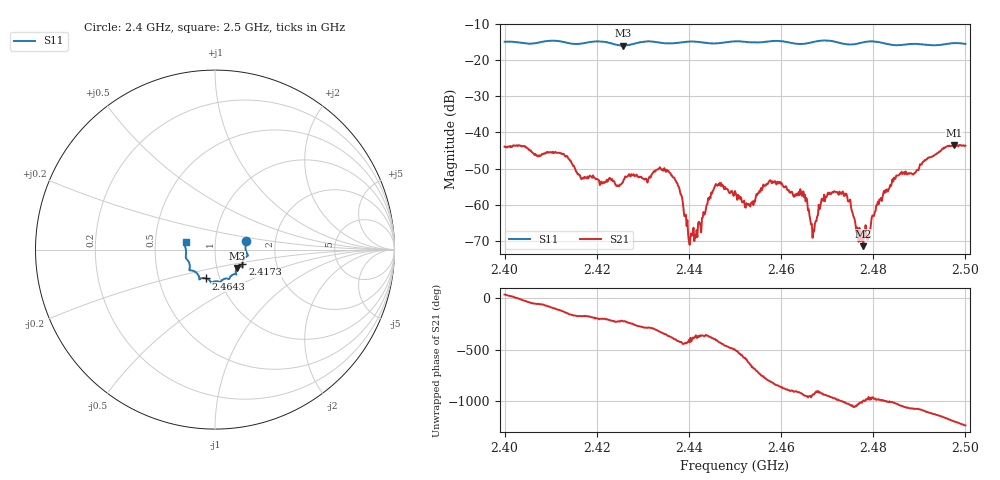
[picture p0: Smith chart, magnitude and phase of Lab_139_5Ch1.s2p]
# Hz S RI R 50
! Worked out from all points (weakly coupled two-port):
!   601 points, 2.4 GHz to 2.5 GHz, reference 50 ohm
!   highest |S21| = -43.47 dB at 2.4975 GHz (marker M1); lowest = -71.5 dB at 2.4778 GHz (marker M2)
!   lowest |S11| = -15.9 dB at 2.4257 GHz (marker M3), VSWR 1.38, Z = 62.4 - j13.1 ohm
!   |S11| at or under -10 dB: start of sweep to end of sweep
!   S12 and S22 are empty: the file has one direction only
!   S11 on the Smith chart (normalised r, x): 2.4 GHz: 1.41, +0.14; 2.4173 GHz: 1.34, -0.23; 2.4643 GHz: 0.86, -0.28; 2.5 GHz: 0.72, +0.06
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2.4e9  0.1735 0.0495  0.00532 0.00348  0 0  0 0
2.412333e9  0.1781 -0.0374  -0.00287 -0.00416  0 0  0 0
2.416667e9  0.153 -0.075  -0.00225 -0.000188  0 0  0 0
2.417333e9  0.1524 -0.0824  -0.00242 -0.000183  0 0  0 0
2.425667e9  0.1226 -0.1024  -0.00144 0.00144  0 0  0 0
2.433333e9  0.1125 -0.1367  0.0023 0.00203  0 0  0 0
2.437333e9  0.0856 -0.1508  0.00134 -0.0015  0 0  0 0
2.440333e9  0.0792 -0.1639  0.000323 -0.000152  0 0  0 0
2.445833e9  0.0485 -0.1644  0.00128 -0.00145  0 0  0 0
2.45e9  0.0296 -0.1808  -0.00121 -0.000951  0 0  0 0
2.4535e9  0.0139 -0.1766  0.000386 0.000987  0 0  0 0
2.457833e9  -0.0179 -0.183  -0.00011 -0.00209  0 0  0 0
2.464333e9  -0.0503 -0.1605  -0.00139 0.000547  0 0  0 0
2.466667e9  -0.0763 -0.1596  -0.000362 0.000405  0 0  0 0
2.469167e9  -0.0874 -0.1665  -0.000918 0.000656  0 0  0 0
2.471667e9  -0.0869 -0.1587  -0.00052 0.00143  0 0  0 0
2.4745e9  -0.102 -0.1308  0.000592 0.000947  0 0  0 0
2.476833e9  -0.1252 -0.117  0.000154 0.000264  0 0  0 0
2.477833e9  -0.1339 -0.1159  3.92e-05 0.000263  0 0  0 0
2.483333e9  -0.1406 -0.0894  0.000452 0.00156  0 0  0 0
2.4975e9  -0.1705 0.0291  -0.00259 -0.00619  0 0  0 0
2.5e9  -0.1632 0.0415  -0.00584 -0.00299  0 0  0 0
